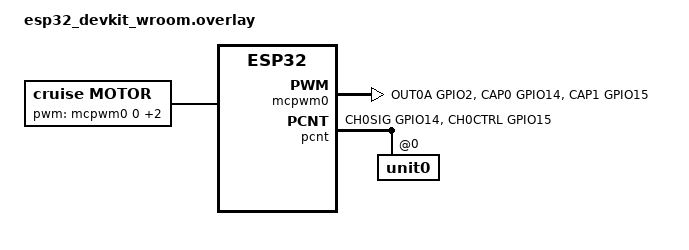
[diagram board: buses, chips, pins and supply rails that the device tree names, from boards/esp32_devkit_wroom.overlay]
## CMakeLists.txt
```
cmake_minimum_required(VERSION 3.20.0)

set(BOARD esp32_devkitc_wroom)
set(DTO_DIR ${CMAKE_CURRENT_SOURCE_DIR}/boards)
set(DTC_OVERLAY_FILE ${DTO_DIR}/esp32_devkit_wroom.overlay)
find_package(Zephyr REQUIRED HINTS $ENV{ZEPHYR_BASE})


project(signal_qenc)

target_sources(app PRIVATE src/main.c)
```

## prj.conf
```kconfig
CONFIG_ESP32_USE_UNSUPPORTED_REVISION=y
CONFIG_STDOUT_CONSOLE=y
CONFIG_GPIO=y
CONFIG_PWM=y
CONFIG_PWM_CAPTURE=y
CONFIG_FPU=y
CONFIG_SENSOR=y
```

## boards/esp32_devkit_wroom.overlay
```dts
#include <zephyr/dt-bindings/pwm/pwm.h>

/{
   
    motor:motor{
        compatible = "cruise,motor";
        pwms = <&mcpwm0 0 0 PWM_POLARITY_NORMAL>,
		       <&mcpwm0 6 0 PWM_POLARITY_NORMAL>,
               <&mcpwm0 7 0 PWM_POLARITY_NORMAL>;
    };
    
    aliases {
		qdec0 = &pcnt;
	};


};

&pinctrl {
    mcpwm0_default: mcpwm0_default {
        group1 {
            pinmux = <MCPWM0_OUT0A_GPIO2>;
            input-enable;
        };
        group2 {
            pinmux = <MCPWM0_CAP0_GPIO14>;
            output-enable;

        };
        group3 {
            pinmux = <MCPWM0_CAP1_GPIO15>;
            output-enable;
        };
    };
};


&mcpwm0 {
    pinctrl-0 = <&mcpwm0_default>;
    pinctrl-names = "default";
    prescale = <7>;
    prescale-timer0 = <99>;
    status = "okay";
};

&pinctrl {
    pcnt_default: pcnt_default {
        group1 {
            pinmux = <PCNT0_CH0SIG_GPIO14>,
                    <PCNT0_CH0CTRL_GPIO15>;
            bias-pull-up;
        };
    };
};

&pcnt {
    pinctrl-0 = <&pcnt_default>;
    pinctrl-names = "default";
    status = "okay";
    #address-cells = <1>;
    #size-cells = <0>;
    unit0@0 {
      reg = <0>;
      #address-cells = <1>;
      #size-cells = <0>;
      filter = <100>;
      channelA@0 {
          reg = <0>;
          sig-pos-mode = <2>;
          sig-neg-mode = <1>;
          ctrl-h-mode = <0>;
          ctrl-l-mode = <1>;
      };
    };
};
```

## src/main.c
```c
#include <zephyr/kernel.h>
#include <zephyr/sys/printk.h>
#include <zephyr/drivers/pwm.h>
#include <zephyr/drivers/sensor.h>

static const struct pwm_dt_spec pwm = PWM_DT_SPEC_GET_BY_IDX(DT_NODELABEL(motor), 0);

static const struct pwm_dt_spec cap = PWM_DT_SPEC_GET_BY_IDX(DT_NODELABEL(motor), 1);

static const struct pwm_dt_spec cap_2 = PWM_DT_SPEC_GET_BY_IDX(DT_NODELABEL(motor), 2);

struct sensor_value val;
int rc;
const struct device *encoder = DEVICE_DT_GET(DT_ALIAS(qdec0));

#define PWM_PERIOD_NSEC 200000000

#define CLK_FREQUENCY 80000000

#define PULSE_COUTER_PER_REVOLUTION 11.0 // 11 pulse couter for 1 shaft revolution so 1/11 revolutions per pulse
#define GEAR_RATIO 4.4                   // Gear ratio of 4.4:1 so 4.4 revolutions for 1 shaft revolution

#define SHAFT_REVOLUTION_RATIO (PULSE_COUTER_PER_REVOLUTION * GEAR_RATIO)

#define PWM_POLARITY_INVERTED (1 << 0)
#define PWM_POLARITY_NORMAL (0 << 0)

#define FLAGS (PWM_CAPTURE_TYPE_PULSE | PWM_POLARITY_NORMAL)

static bool isForward;
static int prev_count = 0;
static int current_count = 0;

static int get_pulse_count()
{
    rc = sensor_sample_fetch_chan(encoder, SENSOR_CHAN_ROTATION);
    if (rc != 0)
    {
        printk("Failed to fetch sample (%d)\n", rc);
    }

    rc = sensor_channel_get(encoder, SENSOR_CHAN_ROTATION, &val);
    if (rc != 0)
    {
        printk("Failed to get data (%d)\n", rc);
    }

    return val.val1;
}

static void capture_handler_2(const struct device *dev, uint32_t channel, uint32_t period_cycles, uint32_t pulse_cycles, int status, void *user_data)
{
    if (status != 0)
    {
        printk("Error to capture - status: [%d]", status);
    }else{
        printk("Pulse from cap 1: %d\n",pulse_cycles);
    }
}

static void capture_handler(const struct device *dev, uint32_t channel, uint32_t period_cycles, uint32_t pulse_cycles, int status, void *user_data)
{
    if (status != 0)
    {
        printk("Error to capture - status: [%d]", status);
    }
    else
    {
        // printk("From device: %s\n", dev->name);
        // current_count = get_pulse_count();
        // if (current_count < prev_count)
        // {
        //     isForward = false;
        // }
        // else
        // {
        //     isForward = true;
        // }
        // prev_count = current_count;

        // double frequency = 1.0 / ((double)period_cycles / (double)CLK_FREQUENCY);

        double rpm = (frequency * 60.0) / (SHAFT_REVOLUTION_RATIO);

        // double duty = ((double)pulse_cycles / (double)period_cycles) * 100.0;
        printk("Pulse from cap 0: %d\n",pulse_cycles);

        // printk("%f,%f,%d,%.2f,%d\n", frequency, duty, current_count,rpm,isForward);
    }
}

static bool check_pwms_devices()
{

    if (device_is_ready(pwm.dev))
    {
        printk("Looks like he is ready!!\nDevice channel: {%d}\nDevice period: {%d}\n", pwm.channel, pwm.period);
    }
    else
    {
        printk("F is not ready yet\n");
        return false;
    }

    if (device_is_ready(cap.dev))
    {
        printk("Looks like out is ready!!\nDevice channel: {%d}\nDevice period: {%d}\n", cap.channel, cap.period);
    }
    else
    {
        printk("F out is not ready yet\n");
        return false;
    }
    if (device_is_ready(cap_2.dev))
    {
        printk("Looks like out is ready!!\nDevice channel: {%d}\nDevice period: {%d}\n", cap_2.channel, cap_2.period);
    }
    else
    {
        printk("F out is not ready yet\n");
        return false;
    }

    return true;
}

static bool set_pwm_pulse_output_percent(uint8_t pulse_percent)
{
    int pulse_value;
    if (pulse_percent > 100)
    {
        return false;
    }
    else
    {
        pulse_value = (pulse_percent * PWM_PERIOD_NSEC) / 100;
    }
    int err;
    err = pwm_set(pwm.dev, pwm.channel, PWM_PERIOD_NSEC, pulse_value, PWM_POLARITY_NORMAL);
    if (err != 0)
    {
        printk("Error to set pwm out: Err{%d}\n", err);
        return false;
    }
    else
    {
        return true;
    }
}

int main(void)
{

    check_pwms_devices();
    pwm_configure_capture(cap.dev, cap.channel, (PWM_CAPTURE_TYPE_BOTH | PWM_CAPTURE_MODE_CONTINUOUS), capture_handler, NULL);
    pwm_configure_capture(cap_2.dev, cap_2.channel, (PWM_CAPTURE_TYPE_BOTH | PWM_CAPTURE_MODE_CONTINUOUS), capture_handler_2, NULL);
    pwm_enable_capture(cap.dev, cap.channel);
    pwm_enable_capture(cap_2.dev, cap_2.channel);

    if (!device_is_ready(encoder))
    {
        printk("Qdec device is not ready\n");
        return 0;
    }
    prev_count = get_pulse_count();
    set_pwm_pulse_output_percent(50);

    while (1)
    {

        k_sleep(K_SECONDS(1));
    }
    return 0;
}
```
